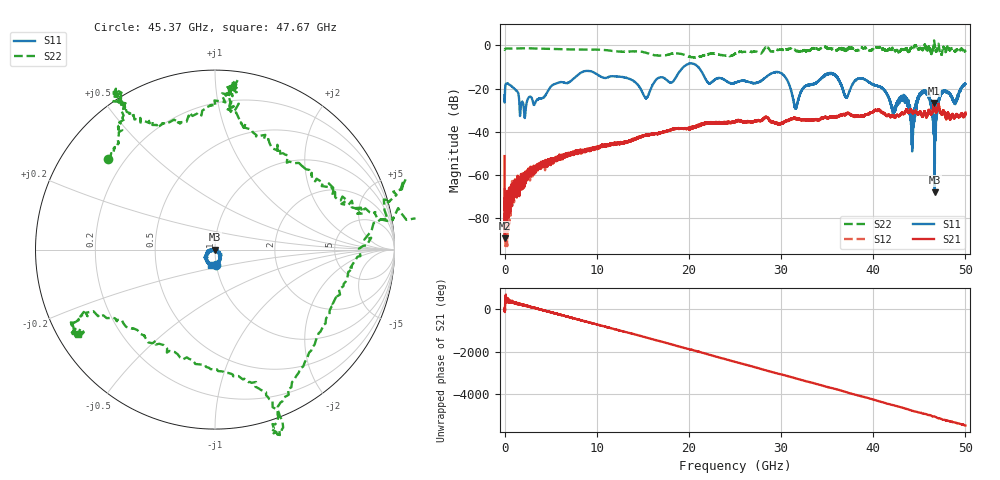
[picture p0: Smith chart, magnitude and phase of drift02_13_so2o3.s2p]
!Created with skrf (http://scikit-rf.org).
# Hz S RI R 50.0
!freq ReS11 ImS11 ReS21 ImS21 ReS12 ImS12 ReS22 ImS22
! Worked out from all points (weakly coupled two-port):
!   10001 points, 300 kHz to 50 GHz, reference 50 ohm
!   highest |S21| = -26.68 dB at 46.61 GHz (marker M1); lowest = -89.3 dB at 30.3 MHz (marker M2)
!   lowest |S11| = -68.1 dB at 46.68 GHz (marker M3), VSWR 1.00, Z = 50 + j0.0371 ohm
!   |S11| at or under -10 dB: start of sweep to 19.41 GHz; 21 GHz to end of sweep
!   |S22| runs from -5.7 to 2.3 dB; largest |S21 - S12| = 0.0033
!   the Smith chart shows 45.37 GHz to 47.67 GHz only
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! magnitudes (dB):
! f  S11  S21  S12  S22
! 300 kHz  -23.1  -51.3  -66.1  -2.1
! 30.3 MHz  -22.4  -89.3  -86.9  -1.8
! 255.3 MHz  -17.6  -76.5  -68.1  -1.4
! 2.19 GHz  -33.7  -61.9  -63.0  -1.3
! 8.335 GHz  -12.5  -49.1  -49.2  -1.9
! 15.34 GHz  -24.5  -41.8  -41.6  -3.4
! 16.67 GHz  -15.1  -40.6  -40.7  -4.7
! 20.29 GHz  -8.4  -38.3  -38.2  -5.5
! 25 GHz  -17.4  -35.3  -35.3  -3.9
! 29.84 GHz  -12.6  -36.4  -36.6  -2.0
! 31.6 GHz  -29.2  -33.9  -34.1  -2.5
! 33.34 GHz  -18.1  -34.3  -34.5  -1.6
! 35.6 GHz  -13.0  -33.3  -33.2  -1.6
! 37.1 GHz  -24.2  -31.8  -31.6  -2.3
! 38.75 GHz  -15.2  -32.5  -32.7  -1.0
! 41.67 GHz  -24.3  -32.2  -32.2  -1.8
! 44.25 GHz  -34.5  -31.3  -31.2  -1.5
! 45.7 GHz  -21.9  -32.6  -32.5  -0.8
! 46.61 GHz  -40.2  -26.7  -26.6  2.3
! 46.68 GHz  -68.1  -28.9  -28.7  0.0
! 47.46 GHz  -21.9  -31.7  -31.8  -3.7
! 50 GHz  -17.8  -31.2  -31.9  -2.6
